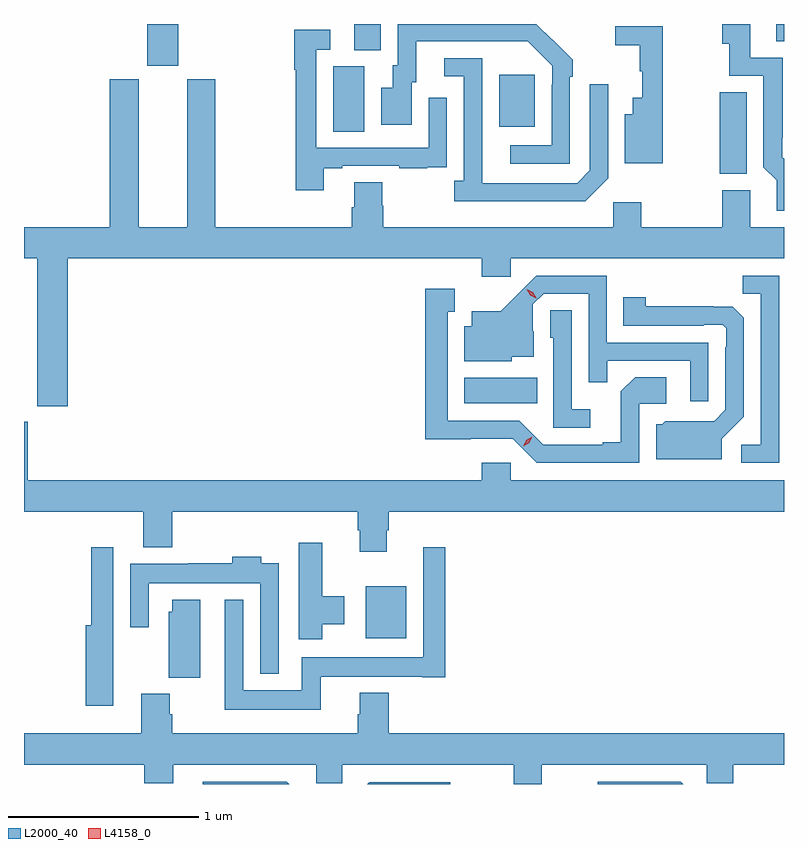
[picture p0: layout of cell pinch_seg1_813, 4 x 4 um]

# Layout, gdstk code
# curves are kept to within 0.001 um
import gdstk
lib = gdstk.Library(unit=1e-6, precision=1e-09)
def R(c, l, rs):  # rectangles x0, y0, x1, y1
    for r in rs: c.add(gdstk.rectangle(r[:2], r[2:], *l))
def P(c, l, *ps):  # polygons
    for p in ps: c.add(gdstk.Polygon(p, *l))
L2000_40 = (2000, 40)
L4158_0 = (4158, 0)

pinch_seg1_813 = lib.new_cell('pinch_seg1_813')
R(pinch_seg1_813, L2000_40, [(461.861,568.382,462.076,568.654), (462.38,569.618,462.764,569.752), (463.724,570.827,463.867,571.256), (461.69,571.048,461.854,571.392), (462.563,571.073,462.751,571.348), (460.712,571.395,460.876,571.614), (461.801,571.477,461.941,571.614), (464.021,571.523,464.063,571.614)])
P(pinch_seg1_813, L2000_40, [(462.936,571.337),(462.951,571.337),(462.951,571.425),(462.76,571.614),(462.03,571.614),(462.03,571.398),(462.005,571.398),(462.005,571.279),(461.942,571.279),(461.942,571.083),(462.103,571.083),(462.103,571.308),(462.127,571.308),(462.127,571.524),(462.715,571.524),(462.843,571.395),(462.843,571.295),(462.84,571.295),(462.84,570.975),(462.621,570.975),(462.621,570.879),(462.936,570.879)],
  [(464.063,570.905),(464.054,570.914),(464.054,571.015),(464.056,571.015),(464.056,571.437),(463.885,571.437),(463.885,571.614),(463.737,571.614),(463.737,571.509),(463.776,571.509),(463.776,571.341),(463.955,571.341),(463.955,570.861),(464.025,570.791),(464.025,570.63),(464.063,570.63)],
  [(463.426,571.602),(463.176,571.602),(463.176,571.501),(463.305,571.501),(463.305,571.365),(463.316,571.365),(463.316,571.225),(463.268,571.225),(463.268,571.138),(463.226,571.138),(463.226,570.881),(463.426,570.881)],
  [(461.641,570.855),(461.737,570.855),(461.737,570.867),(462.037,570.867),(462.037,570.855),(462.185,570.855),(462.185,570.861),(462.287,570.861),(462.287,570.97),(462.288,570.97),(462.288,571.225),(462.192,571.225),(462.192,570.963),(461.601,570.963),(461.601,571.479),(461.674,571.479),(461.674,571.585),(461.485,571.585),(461.485,571.372),(461.493,571.372),(461.493,570.738),(461.641,570.738)],
  [(463.137,570.801),(463.137,571.297),(463.041,571.297),(463.041,570.843),(462.975,570.777),(462.475,570.777),(462.474,571.434),(462.276,571.434),(462.276,571.338),(462.378,571.338),(462.378,570.79),(462.327,570.79),(462.327,570.68),(463.016,570.68)],
  [(460.292,570.38),(462.473,570.38),(462.473,570.285),(462.624,570.285),(462.624,570.38),(464.063,570.38),(464.063,570.544),(463.885,570.544),(463.885,570.739),(463.738,570.739),(463.738,570.544),(463.311,570.544),(463.311,570.676),(463.164,570.676),(463.164,570.544),(461.954,570.544),(461.954,570.657),(461.949,570.657),(461.949,570.782),(461.801,570.782),(461.801,570.65),(461.789,570.65),(461.789,570.544),(461.07,570.544),(461.07,571.323),(460.922,571.323),(460.922,570.544),(460.666,570.544),(460.666,571.323),(460.514,571.323),(460.514,570.544),(460.063,570.544),(460.063,570.38),(460.132,570.38),(460.132,569.601),(460.292,569.601)],
  [(464.037,570.288),(463.846,570.288),(463.846,570.193),(463.941,570.193),(463.941,569.4),(463.839,569.4),(463.839,569.304),(464.037,569.304)],
  [(463.665,569.937),(463.131,569.937),(463.131,570.288),(462.758,570.288),(462.571,570.103),(462.419,570.103),(462.419,570.022),(462.38,570.022),(462.38,569.84),(462.63,569.84),(462.63,569.864),(462.745,569.864),(462.745,569.996),(462.741,569.996),(462.741,570.138),(462.798,570.195),(463.035,570.195),(463.035,569.728),(463.133,569.728),(463.133,569.841),(463.569,569.841),(463.569,569.628),(463.665,569.628)],
  [(463.302,569.616),(463.444,569.616),(463.444,569.756),(463.279,569.756),(463.203,569.68),(463.203,569.413),(463.109,569.413),(463.109,569.4),(462.795,569.4),(462.669,569.526),(462.292,569.526),(462.292,570.099),(462.331,570.099),(462.331,570.22),(462.174,570.22),(462.174,569.429),(462.636,569.43),(462.762,569.304),(463.302,569.304)],
  [(463.735,569.43),(463.851,569.546),(463.851,570.068),(463.792,570.127),(463.335,570.128),(463.335,570.175),(463.216,570.175),(463.216,570.027),(463.64,570.027),(463.64,570.03),(463.74,570.03),(463.758,570.012),(463.758,569.912),(463.755,569.912),(463.755,569.583),(463.695,569.523),(463.438,569.524),(463.422,569.508),(463.391,569.508),(463.391,569.324),(463.735,569.324)],
  [(463.042,569.587),(462.945,569.587),(462.945,570.107),(462.834,570.107),(462.834,569.964),(462.849,569.964),(462.849,569.49),(463.042,569.49)],
  [(460.063,569.521),(460.063,569.048),(460.691,569.048),(460.691,568.859),(460.844,568.859),(460.844,569.048),(461.819,569.048),(461.819,568.95),(461.831,568.95),(461.831,568.836),(461.971,568.836),(461.971,568.95),(461.984,568.95),(461.984,569.048),(464.063,569.048),(464.063,569.212),(462.624,569.212),(462.624,569.305),(462.473,569.305),(462.473,569.212),(460.084,569.212),(460.084,569.521)],
  [(461.632,568.454),(461.749,568.454),(461.749,568.602),(461.632,568.602),(461.632,568.885),(461.51,568.885),(461.51,568.377),(461.632,568.377)],
  [(460.534,568.346),(460.533,568.346),(460.533,568.861),(460.417,568.861),(460.417,568.45),(460.388,568.45),(460.388,568.026),(460.534,568.026)],
  [(461.624,568.178),(462.158,568.178),(462.158,568.176),(462.281,568.176),(462.281,568.861),(462.165,568.861),(462.165,568.282),(461.526,568.282),(461.526,568.108),(461.217,568.108),(461.217,568.585),(461.12,568.585),(461.12,568.004),(461.624,568.004)],
  [(461.403,568.777),(461.311,568.777),(461.311,568.81),(461.159,568.81),(461.159,568.777),(460.927,568.777),(460.927,568.774),(460.623,568.774),(460.623,568.44),(460.719,568.44),(460.719,568.67),(461.307,568.67),(461.307,568.193),(461.403,568.193)],
  [(460.99,568.585),(460.844,568.585),(460.844,568.521),(460.826,568.521),(460.826,568.174),(460.99,568.174)],
  [(462.787,567.716),(463.656,567.716),(463.656,567.618),(463.795,567.618),(463.795,567.716),(464.063,567.716),(464.063,567.88),(461.984,567.88),(461.984,568.093),(461.831,568.093),(461.831,567.981),(461.819,567.981),(461.819,567.88),(460.844,567.88),(460.844,567.98),(460.831,567.98),(460.831,568.089),(460.679,568.089),(460.679,567.88),(460.063,567.88),(460.063,567.716),(460.697,567.716),(460.697,567.617),(460.849,567.617),(460.849,567.716),(461.601,567.716),(461.601,567.618),(461.739,567.618),(461.739,567.716),(462.64,567.716),(462.64,567.614),(462.787,567.614)],
  [(463.519,567.627),(463.083,567.627),(463.083,567.614),(463.532,567.614)],
  [(461.447,567.625),(461.003,567.625),(461.003,567.614),(461.458,567.614)],
  [(462.306,567.624),(461.88,567.624),(461.87,567.614),(462.306,567.614)])
P(pinch_seg1_813, L4158_0, [(462.69,569.391),(462.69,569.391),(462.707,569.423),(462.739,569.442),(462.739,569.442),(462.739,569.442),(462.722,569.409),(462.69,569.391)],
  [(462.758,570.171),(462.727,570.187),(462.71,570.217),(462.71,570.217),(462.71,570.217),(462.741,570.202),(462.759,570.172),(462.759,570.171)])

lib.write_gds('pinch_seg1_813.gds')
